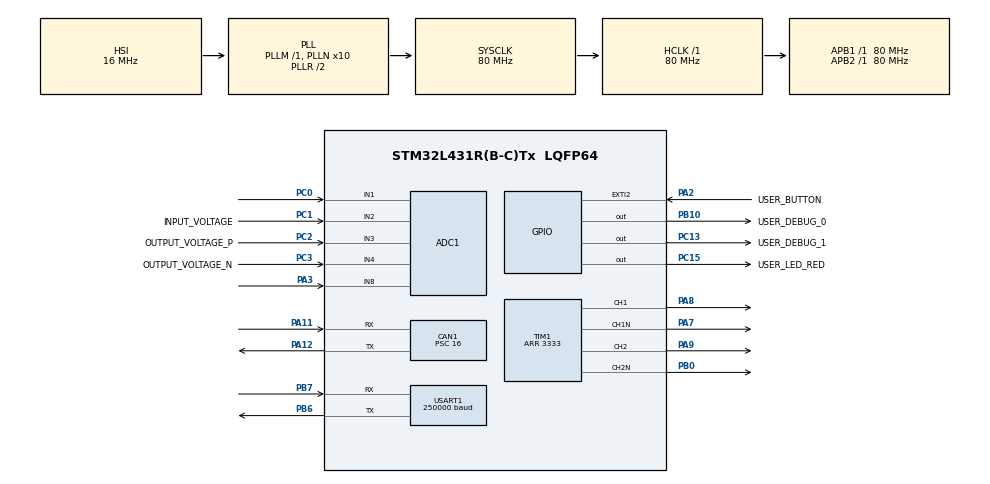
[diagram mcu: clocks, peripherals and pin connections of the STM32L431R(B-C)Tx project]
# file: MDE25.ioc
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ADC1.Channel-0\#ChannelRegularConversion=ADC_CHANNEL_1
ADC1.Channel-2\#ChannelRegularConversion=ADC_CHANNEL_2
ADC1.Channel-3\#ChannelRegularConversion=ADC_CHANNEL_3
ADC1.Channel-4\#ChannelRegularConversion=ADC_CHANNEL_8
ADC1.ContinuousConvMode=DISABLE
ADC1.DMAContinuousRequests=ENABLE
ADC1.ExternalTrigConv=ADC_EXTERNALTRIG_T2_TRGO
ADC1.NbrOfConversion=4
ADC1.NbrOfConversionFlag=1
ADC1.OffsetNumber-0\#ChannelRegularConversion=ADC_OFFSET_NONE
ADC1.OffsetNumber-2\#ChannelRegularConversion=ADC_OFFSET_NONE
ADC1.OffsetNumber-3\#ChannelRegularConversion=ADC_OFFSET_NONE
ADC1.OffsetNumber-4\#ChannelRegularConversion=ADC_OFFSET_NONE
ADC1.Overrun=ADC_OVR_DATA_OVERWRITTEN
ADC1.OversamplingMode=ENABLE
ADC1.Rank-0\#ChannelRegularConversion=1
ADC1.Rank-2\#ChannelRegularConversion=2
ADC1.Rank-3\#ChannelRegularConversion=3
ADC1.Rank-4\#ChannelRegularConversion=4
ADC1.Ratio=ADC_OVERSAMPLING_RATIO_256
ADC1.RightBitShift=ADC_RIGHTBITSHIFT_4
ADC1.SamplingTime-0\#ChannelRegularConversion=ADC_SAMPLETIME_247CYCLES_5
ADC1.SamplingTime-2\#ChannelRegularConversion=ADC_SAMPLETIME_247CYCLES_5
ADC1.SamplingTime-3\#ChannelRegularConversion=ADC_SAMPLETIME_247CYCLES_5
ADC1.SamplingTime-4\#ChannelRegularConversion=ADC_SAMPLETIME_247CYCLES_5
ADC1.SingleDiff-3\#ChannelRegularConversion=ADC_DIFFERENTIAL_ENDED
ADC1.master=1
CAN1.ABOM=ENABLE
CAN1.BS1=CAN_BS1_7TQ
CAN1.BS2=CAN_BS2_2TQ
CAN1.CalculateBaudRate=500000
CAN1.CalculateTimeBit=2000
CAN1.CalculateTimeQuantum=200.0
CAN1.Prescaler=16
Dma.ADC1.1.Direction=DMA_PERIPH_TO_MEMORY
Dma.ADC1.1.Instance=DMA1_Channel1
Dma.ADC1.1.MemDataAlignment=DMA_MDATAALIGN_HALFWORD
Dma.ADC1.1.MemInc=DMA_MINC_ENABLE
Dma.ADC1.1.Mode=DMA_CIRCULAR
Dma.ADC1.1.PeriphDataAlignment=DMA_PDATAALIGN_HALFWORD
Dma.ADC1.1.PeriphInc=DMA_PINC_DISABLE
Dma.ADC1.1.Priority=DMA_PRIORITY_LOW
Dma.Request0=USART1_RX
Dma.Request1=ADC1
Dma.USART1_RX.0.Direction=DMA_PERIPH_TO_MEMORY
Dma.USART1_RX.0.Instance=DMA1_Channel5
Dma.USART1_RX.0.MemDataAlignment=DMA_MDATAALIGN_BYTE
Dma.USART1_RX.0.MemInc=DMA_MINC_ENABLE
Dma.USART1_RX.0.Mode=DMA_CIRCULAR
Dma.USART1_RX.0.PeriphDataAlignment=DMA_PDATAALIGN_BYTE
Dma.USART1_RX.0.PeriphInc=DMA_PINC_DISABLE
Dma.USART1_RX.0.Priority=DMA_PRIORITY_LOW
IWDG.Prescaler=IWDG_PRESCALER_256
Mcu.Family=STM32L4
Mcu.Name=STM32L431R(B-C)Tx
Mcu.Package=LQFP64
NVIC.CAN1_RX0_IRQn=true\:0\:0\:false\:false\:true\:true\:true\:true
NVIC.DMA1_Channel1_IRQn=true\:0\:0\:false\:false\:true\:false\:true\:true
NVIC.DMA1_Channel5_IRQn=true\:0\:0\:false\:false\:true\:false\:true\:true
NVIC.EXTI2_IRQn=true\:0\:0\:false\:false\:true\:true\:true\:true
NVIC.PriorityGroup=NVIC_PRIORITYGROUP_4
NVIC.TIM1_BRK_TIM15_IRQn=true\:0\:0\:false\:false\:true\:true\:true\:true
NVIC.TIM1_UP_TIM16_IRQn=true\:5\:0\:true\:false\:true\:true\:true\:true
NVIC.TIM6_DAC_IRQn=true\:0\:0\:false\:false\:true\:true\:true\:true
NVIC.TIM7_IRQn=true\:0\:0\:false\:false\:true\:true\:true\:true
NVIC.USART1_IRQn=true\:0\:0\:false\:false\:true\:true\:true\:true
PA11.Mode=CAN_Activate
PA11.Signal=CAN1_RX
PA12.Mode=CAN_Activate
PA12.Signal=CAN1_TX
PA13\ (JTMS-SWDIO).Mode=Serial_Wire
PA13\ (JTMS-SWDIO).Signal=SYS_JTMS-SWDIO
PA14\ (JTCK-SWCLK).Mode=Serial_Wire
PA14\ (JTCK-SWCLK).Signal=SYS_JTCK-SWCLK
PA2.GPIO_Label=USER_BUTTON
PA2.Signal=GPXTI2
PA3.Signal=ADCx_IN8
PA7.Mode=PWM Generation1 CH1 CH1N
PA7.Signal=TIM1_CH1N
PA8.Signal=S_TIM1_CH1
PA9.Signal=S_TIM1_CH2
PB0.Mode=PWM Generation2 CH2 CH2N
PB0.Signal=TIM1_CH2N
PB10.GPIO_Label=USER_DEBUG_0
PB10.Signal=GPIO_Output
PB6.GPIO_PuPd=GPIO_PULLUP
PB6.Mode=Asynchronous
PB6.Signal=USART1_TX
PB7.GPIO_PuPd=GPIO_PULLUP
PB7.Mode=Asynchronous
PB7.Signal=USART1_RX
PC0.Signal=ADCx_IN1
PC1.GPIO_Label=INPUT_VOLTAGE
PC1.Signal=ADCx_IN2
PC13.GPIO_Label=USER_DEBUG_1
PC13.Signal=GPIO_Output
PC15-OSC32_OUT\ (PC15).GPIO_Label=USER_LED_RED
PC15-OSC32_OUT\ (PC15).Signal=GPIO_Output
PC2.GPIO_Label=OUTPUT_VOLTAGE_P
PC2.Signal=ADCx_IN3
PC3.GPIO_Label=OUTPUT_VOLTAGE_N
PC3.Signal=ADCx_IN4
ProjectManager.HeapSize=0x200
ProjectManager.StackSize=0x400
ProjectManager.TargetToolchain=CMake
RCC.ADCFreq_Value=64000000
RCC.AHBFreq_Value=80000000
RCC.APB1Freq_Value=80000000
RCC.APB1TimFreq_Value=80000000
RCC.APB2Freq_Value=80000000
RCC.APB2TimFreq_Value=80000000
RCC.CortexFreq_Value=80000000
RCC.HCLKFreq_Value=80000000
RCC.HSE_VALUE=8000000
RCC.HSI48_VALUE=48000000
RCC.HSI_VALUE=16000000
RCC.LSE_VALUE=32768
RCC.MSI_VALUE=4000000
RCC.PLLN=10
RCC.PLLSourceVirtual=RCC_PLLSOURCE_HSI
RCC.SYSCLKFreq_VALUE=80000000
RCC.SYSCLKSource=RCC_SYSCLKSOURCE_PLLCLK
RCC.VCOOutputFreq_Value=160000000
SH.ADCx_IN1.0=ADC1_IN1,IN1-Single-Ended
SH.ADCx_IN2.0=ADC1_IN2,IN2-Single-Ended
SH.ADCx_IN3.0=ADC1_IN3,IN3-Differential
SH.ADCx_IN4.0=ADC1_IN4,IN3-Differential
SH.ADCx_IN8.0=ADC1_IN8,IN8-Single-Ended
SH.S_TIM1_CH1.0=TIM1_CH1,PWM Generation1 CH1 CH1N
SH.S_TIM1_CH2.0=TIM1_CH2,PWM Generation2 CH2 CH2N
TIM1.AutoReloadPreload=TIM_AUTORELOAD_PRELOAD_ENABLE
TIM1.Channel-PWM\ Generation1\ CH1\ CH1N=TIM_CHANNEL_1
TIM1.Channel-PWM\ Generation2\ CH2\ CH2N=TIM_CHANNEL_2
TIM1.DeadTime=35
TIM1.OCFastMode_PWM-PWM\ Generation1\ CH1\ CH1N=TIM_OCFAST_ENABLE
TIM1.OCFastMode_PWM-PWM\ Generation2\ CH2\ CH2N=TIM_OCFAST_ENABLE
TIM1.OCMode_PWM-PWM\ Generation1\ CH1\ CH1N=TIM_OCMODE_PWM1
TIM1.OCMode_PWM-PWM\ Generation2\ CH2\ CH2N=TIM_OCMODE_PWM1
TIM1.OCNPolarity_1=TIM_OCNPOLARITY_HIGH
TIM1.OCNPolarity_2=TIM_OCNPOLARITY_HIGH
TIM1.OCPolarity_1=TIM_OCPOLARITY_HIGH
TIM1.OCPolarity_2=TIM_OCPOLARITY_HIGH
TIM1.Period=3333
TIM1.Pulse-PWM\ Generation1\ CH1\ CH1N=3333
TIM1.Pulse-PWM\ Generation2\ CH2\ CH2N=3333
TIM2.Period=400000
TIM2.TIM_MasterOutputTrigger=TIM_TRGO_UPDATE
TIM6.Period=40000
TIM6.Prescaler=1
TIM7.Period=64000
TIM7.Prescaler=2500
USART1.BaudRate=250000
USART1.DMADisableonRxErrorParam=ADVFEATURE_DMA_DISABLEONRXERROR
USART1.VirtualMode-Asynchronous=VM_ASYNC
VP_IWDG_VS_IWDG.Mode=IWDG_Activate
VP_TIM1_VS_ClockSourceINT.Mode=Internal
VP_TIM2_VS_ClockSourceINT.Mode=Internal
VP_TIM6_VS_ClockSourceINT.Mode=Enable_Timer
VP_TIM6_VS_OPM.Mode=OPM_bit
VP_TIM7_VS_ClockSourceINT.Mode=Enable_Timer
board=custom

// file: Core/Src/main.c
/* USER CODE BEGIN Header */
/**
  ******************************************************************************
  * @file           : main.c
  * @brief          : Main program body
  ******************************************************************************
  * @attention
  *
  * Copyright (c) 2025 STMicroelectronics.
  * All rights reserved.
  *
  * This software is licensed under terms that can be found in the LICENSE file
  * in the root directory of this software component.
  * If no LICENSE file comes with this software, it is provided AS-IS.
  *
  ******************************************************************************
  */
/* USER CODE END Header */
#include "main.h"
#include "adc.h"
#include "can.h"
#include "dma.h"
#include "iwdg.h"
#include "tim.h"
#include "usart.h"
#include "gpio.h"

/* USER CODE BEGIN Includes */
#include <stdio.h>

#include "config.h"

#include "Core/pwm.h"
#include "Core/sense.h"
#include "Core/control.h"
#include "Core/uart_server.h"
#include "Core/CAN/can_server.h"
#include "Core/status.h"
#include "Core/telemetry.h"
/* USER CODE END Includes */

void SystemClock_Config(void);

int main(void)
{

  /* MCU Configuration--------------------------------------------------------*/

  /* Reset of all peripherals, Initializes the Flash interface and the Systick. */
  HAL_Init();

  /* Configure the system clock */
  SystemClock_Config();

  /* Initialize all configured peripherals */
  MX_GPIO_Init();
  MX_DMA_Init();
  MX_USART1_UART_Init();
  MX_TIM1_Init();
  MX_ADC1_Init();
  MX_TIM2_Init();
  MX_CAN1_Init();
  MX_TIM7_Init();
  MX_TIM6_Init();
  MX_IWDG_Init();
  /* USER CODE BEGIN 2 */

  /** Some stabilization delay to avoid fast resets killing driver */
  HAL_Delay(2000);
  pwm_init();
  HAL_Delay(2000);

  sense_init();
  control_init(sense_get_control_point, pwm_set_duty);
  can_server_init(control_set_setpoint, control_reset_setpoint);
  uart_server_init();

  long long last_update_tick = HAL_GetTick();
  /* USER CODE END 2 */

  /* Infinite loop */
  /* USER CODE BEGIN WHILE */
  while (1)
  {
    uart_server_update();
    /* USER CODE END WHILE */

    /* USER CODE BEGIN 3 */
    if (HAL_GetTick() - last_update_tick > TELEMETRY_UPDATE_INTERVAL_MS)
    {
      /** Update telemetry */
      telemetry_update();
      last_update_tick = HAL_GetTick();

      /** Tells user we are alive */
      HAL_GPIO_TogglePin(USER_LED_RED_GPIO_Port, USER_LED_RED_Pin);
    }
  }
  /* USER CODE END 3 */
}

void SystemClock_Config(void)
{
  RCC_OscInitTypeDef RCC_OscInitStruct = {0};
  RCC_ClkInitTypeDef RCC_ClkInitStruct = {0};

  /** Configure the main internal regulator output voltage
  */
  if (HAL_PWREx_ControlVoltageScaling(PWR_REGULATOR_VOLTAGE_SCALE1) != HAL_OK)
  {
    Error_Handler();
  }

  /** Initializes the RCC Oscillators according to the specified parameters
  * in the RCC_OscInitTypeDef structure.
  */
  RCC_OscInitStruct.OscillatorType = RCC_OSCILLATORTYPE_HSI|RCC_OSCILLATORTYPE_LSI;
  RCC_OscInitStruct.HSIState = RCC_HSI_ON;
  RCC_OscInitStruct.HSICalibrationValue = RCC_HSICALIBRATION_DEFAULT;
  RCC_OscInitStruct.LSIState = RCC_LSI_ON;
  RCC_OscInitStruct.PLL.PLLState = RCC_PLL_ON;
  RCC_OscInitStruct.PLL.PLLSource = RCC_PLLSOURCE_HSI;
  RCC_OscInitStruct.PLL.PLLM = 1;
  RCC_OscInitStruct.PLL.PLLN = 10;
  RCC_OscInitStruct.PLL.PLLP = RCC_PLLP_DIV7;
  RCC_OscInitStruct.PLL.PLLQ = RCC_PLLQ_DIV2;
  RCC_OscInitStruct.PLL.PLLR = RCC_PLLR_DIV2;
  if (HAL_RCC_OscConfig(&RCC_OscInitStruct) != HAL_OK)
  {
    Error_Handler();
  }

  /** Initializes the CPU, AHB and APB buses clocks
  */
  RCC_ClkInitStruct.ClockType = RCC_CLOCKTYPE_HCLK|RCC_CLOCKTYPE_SYSCLK
                              |RCC_CLOCKTYPE_PCLK1|RCC_CLOCKTYPE_PCLK2;
  RCC_ClkInitStruct.SYSCLKSource = RCC_SYSCLKSOURCE_PLLCLK;
  RCC_ClkInitStruct.AHBCLKDivider = RCC_SYSCLK_DIV1;
  RCC_ClkInitStruct.APB1CLKDivider = RCC_HCLK_DIV1;
  RCC_ClkInitStruct.APB2CLKDivider = RCC_HCLK_DIV1;

  if (HAL_RCC_ClockConfig(&RCC_ClkInitStruct, FLASH_LATENCY_4) != HAL_OK)
  {
    Error_Handler();
  }
}

void Error_Handler(void)
{
  __disable_irq();
  while (1)
  {
  }
}
